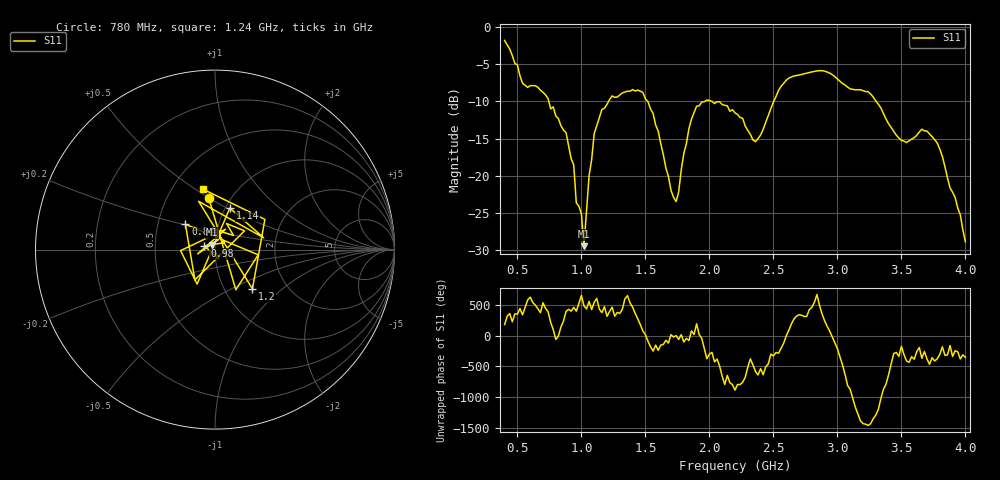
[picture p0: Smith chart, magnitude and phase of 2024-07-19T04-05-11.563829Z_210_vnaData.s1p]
!Created with skrf (http://scikit-rf.org).
# Hz S RI R 50.0
!freq ReS11 ImS11
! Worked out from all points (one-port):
!   181 points, 400 MHz to 4 GHz, reference 50 ohm
!   lowest |S11| = -29.5 dB at 1.02 GHz (marker M1), VSWR 1.07, Z = 48.2 + j2.73 ohm
!   |S11| at or under -10 dB: 745.4 MHz to 1.212 GHz (467.1 MHz wide, 47.7 % of centre); 2.021 GHz to 2.503 GHz (482 MHz wide, 21.3 % of centre); 3.303 GHz to end of sweep (the widest 3 of 4)
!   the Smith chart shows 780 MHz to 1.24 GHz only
!   S11 on the Smith chart (normalised r, x): 780 MHz: 0.79, +0.50; 840 MHz: 0.69, +0.20; 980 MHz: 0.89, +0.04; 1.14 GHz: 1.05, +0.52; 1.2 GHz: 1.35, -0.65; 1.24 GHz: 0.70, +0.54
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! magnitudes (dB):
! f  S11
! 400 MHz  -1.8
! 540 MHz  -7.5
! 780 MHz  -10.7
! 840 MHz  -13.3
! 860 MHz  -13.9
! 940 MHz  -18.5
! 960 MHz  -23.7
! 980 MHz  -24.1
! 1.02 GHz  -29.5
! 1.06 GHz  -20.0
! 1.14 GHz  -12.2
! 1.2 GHz  -10.4
! 1.24 GHz  -9.3
! 1.3 GHz  -9.1
! 1.48 GHz  -8.8
! 1.6 GHz  -14.0
! 1.7 GHz  -22.0
! 1.76 GHz  -22.2
! 1.84 GHz  -13.7
! 1.9 GHz  -10.6
! 2.2 GHz  -11.5
! 2.36 GHz  -15.4
! 2.66 GHz  -6.6
! 3.1 GHz  -8.3
! 3.24 GHz  -8.7
! 3.56 GHz  -15.3
! 3.78 GHz  -15.6
! 4 GHz  -28.9
